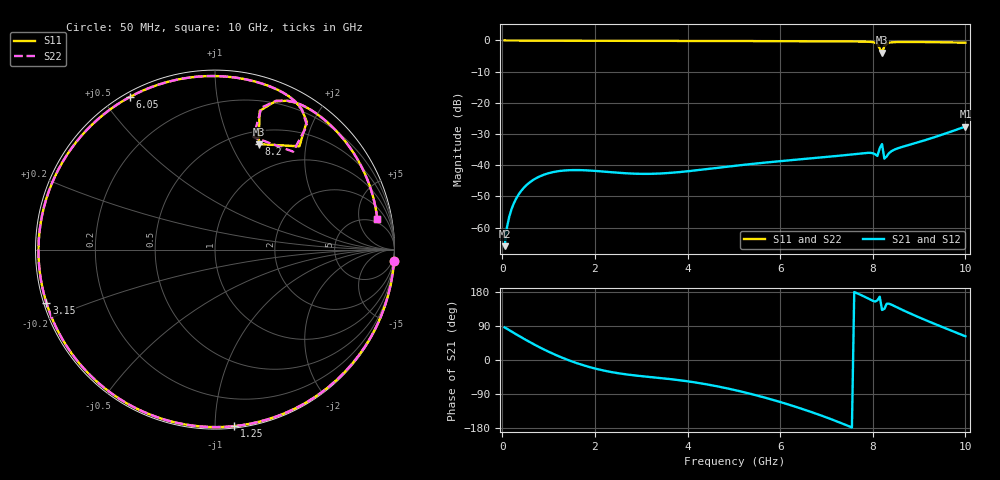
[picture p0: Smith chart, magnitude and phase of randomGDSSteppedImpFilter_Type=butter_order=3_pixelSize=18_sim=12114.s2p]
! freq	dB(S11)	phase(S11)	dB(S12)	phase(S12)
!  dB(S21)	phase(S21)	dB(S22)	phase(S22)
!S-par simulation data
#  GHz  S  DB  R 50
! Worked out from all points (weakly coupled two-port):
!   200 points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, 50 MHz to 10 GHz, reference 50 ohm
!   highest |S21| = -27.61 dB at 10 GHz (marker M1); lowest = -66.0 dB at 50 MHz (marker M2)
!   lowest |S11| = -3.9 dB at 8.2 GHz (marker M3), VSWR 4.50, Z = 32.4 + j64.1 ohm
!   |S11| at or under -10 dB: nowhere
!   |S22| runs from -3.6 to 0.0 dB; largest |S21 - S12| = 0
!   S11 on the Smith chart (normalised r, x): 50 MHz: 0, -30; 1.25 GHz: 0.01, -1.11; 3.15 GHz: 0.01, -0.15; 6.05 GHz: 0.02, +0.59; 8.2 GHz: 0.65, +1.28; 10 GHz: 4.05, +8.95
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0.05  -0.00 -3.8  -65.96 86.1  -65.96 86.1  -0.00 -3.8
0.15  -0.01 -11.2  -56.50 78.7  -56.50 78.7  -0.01 -11.2
0.4  -0.04 -29.4  -48.39 60.7  -48.39 60.7  -0.04 -29.4
0.8  -0.07 -56.7  -43.64 33.9  -43.64 33.9  -0.07 -56.7
1.25  -0.09 -83.9  -41.84 8.3  -41.84 8.3  -0.09 -83.9
1.75  -0.11 -109.5  -41.61 -13.8  -41.61 -13.8  -0.11 -109.5
2.4  -0.12 -136.7  -42.30 -32.8  -42.30 -32.8  -0.12 -136.7
3.15  -0.13 -162.4  -42.78 -44.5  -42.78 -44.5  -0.13 -162.4
3.4  -0.14 -170.1  -42.67 -47.5  -42.67 -47.5  -0.14 -170.1
4.2  -0.16 167.3  -41.62 -59.9  -41.62 -59.9  -0.16 167.2
5.05  -0.19 144.9  -40.15 -80.1  -40.15 -80.1  -0.19 144.8
6.05  -0.23 119.1  -38.64 -112.6  -38.64 -112.6  -0.23 119.1
6.7  -0.26 102.0  -37.78 -138.4  -37.78 -138.4  -0.26 102.0
7.7  -0.35 73.7  -36.28 174.0  -36.28 174.0  -0.35 73.6
8  -0.54 61.8  -36.16 156.2  -36.16 156.2  -0.56 61.4
8.1  -1.13 54.4  -37.03 157.5  -37.03 157.5  -1.30 53.4
8.15  -2.58 50.7  -34.55 167.0  -34.55 167.0  -3.12 51.4
8.2  -3.93 67.5  -33.24 132.0  -33.24 132.0  -3.57 71.1
8.25  -1.81 72.2  -37.90 135.0  -37.90 135.0  -1.60 71.9
8.35  -0.73 64.5  -36.16 148.7  -36.16 148.7  -0.71 64.2
9.05  -0.51 39.2  -32.33 109.9  -32.33 109.9  -0.51 39.2
10  -0.72 10.6  -27.61 62.6  -27.61 62.6  -0.72 10.6
